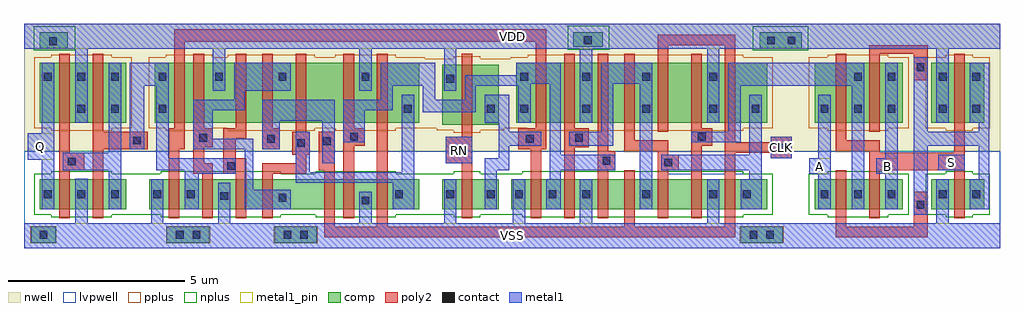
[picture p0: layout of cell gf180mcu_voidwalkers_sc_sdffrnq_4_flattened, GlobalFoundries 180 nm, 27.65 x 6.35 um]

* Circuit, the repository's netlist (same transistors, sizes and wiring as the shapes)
* NGSPICE file created from gf180mcu_voidwalkers_sc_sdffrnq_4_flattened.ext - technology: gf180mcuD

.subckt gf180mcu_voidwalkers_sc_sdffrnq_4_flattened VDD VSS A B S CLK RN Q
X0 a_n870_270# RN VDD VDD pfet_03v3 ad=1.275p pd=4.9u as=0.935p ps=4.5u w=1.7u l=0.3u
X1 a_2090_270# S A VDD pfet_03v3 ad=0.5525p pd=2.35u as=1.0285p ps=4.61u w=1.7u l=0.3u
X2 a_n1490_270# a_n1300_270# VSS VSS nfet_03v3 ad=0.54825p pd=2.99u as=0.27625p ps=1.5u w=0.85u l=0.3u
X3 a_n1300_270# a_n870_270# VSS VSS nfet_03v3 ad=0.27625p pd=1.5u as=0.4675p ps=2.8u w=0.85u l=0.3u
X4 a_120_270# a_n870_270# VSS VSS nfet_03v3 ad=0.27625p pd=1.5u as=0.4675p ps=2.8u w=0.85u l=0.3u
X5 a_1370_270# CLK a_1620_320# VSS nfet_03v3 ad=0.27625p pd=1.5u as=0.19125p ps=1.3u w=0.85u l=0.3u
X6 a_n730_520# CLK a_n430_810# VDD pfet_03v3 ad=0.5525p pd=2.35u as=0.3825p ps=2.15u w=1.7u l=0.3u
X7 a_n340_270# CLK VSS VSS nfet_03v3 ad=0.765p pd=3.5u as=0.27625p ps=1.5u w=0.85u l=0.3u
X8 VDD a_n730_520# a_n780_810# VDD pfet_03v3 ad=0.765p pd=2.6u as=0.2125p ps=1.95u w=1.7u l=0.3u
X9 a_1620_810# a_120_270# VDD VDD pfet_03v3 ad=0.3825p pd=2.15u as=0.5525p ps=2.35u w=1.7u l=0.3u
X10 a_2910_160# S VDD VDD pfet_03v3 ad=0.935p pd=4.5u as=1.105p ps=4.7u w=1.7u l=0.3u
X11 a_2090_270# a_2910_160# A VSS nfet_03v3 ad=0.27625p pd=1.5u as=0.51425p ps=2.91u w=0.85u l=0.3u
X12 VDD a_120_270# a_n90_810# VDD pfet_03v3 ad=0.5525p pd=2.35u as=0.8925p ps=2.75u w=1.7u l=0.3u
X13 a_1710_650# CLK VDD VDD pfet_03v3 ad=1.53p pd=5.2u as=0.5525p ps=2.35u w=1.7u l=0.3u
X14 a_1270_810# a_n870_270# a_120_270# VDD pfet_03v3 ad=0.425p pd=2.2u as=0.935p ps=4.5u w=1.7u l=0.3u
X15 a_n730_520# a_n340_270# a_n430_320# VSS nfet_03v3 ad=0.61625p pd=2.3u as=0.19125p ps=1.3u w=0.85u l=0.3u
X16 a_1620_320# a_120_270# VSS VSS nfet_03v3 ad=0.19125p pd=1.3u as=0.27625p ps=1.5u w=0.85u l=0.3u
X17 a_2910_160# S VSS VSS nfet_03v3 ad=0.4675p pd=2.8u as=0.5525p ps=3u w=0.85u l=0.3u
X18 VSS a_n730_520# a_n1300_270# VSS nfet_03v3 ad=0.27625p pd=1.5u as=0.27625p ps=1.5u w=0.85u l=0.3u
X19 B a_2910_160# a_2090_270# VDD pfet_03v3 ad=1.105p pd=4.7u as=0.5525p ps=2.35u w=1.7u l=0.3u
X20 a_70_320# CLK a_n730_520# VSS nfet_03v3 ad=0.10625p pd=1.1u as=0.61625p ps=2.3u w=0.85u l=0.3u
X21 VDD a_n1490_270# Q VDD pfet_03v3 ad=0.5525p pd=2.35u as=0.935p ps=4.5u w=1.7u l=0.3u
X22 a_n90_810# a_n340_270# a_n730_520# VDD pfet_03v3 ad=0.8925p pd=2.75u as=0.5525p ps=2.35u w=1.7u l=0.3u
X23 VSS a_120_270# a_70_320# VSS nfet_03v3 ad=0.27625p pd=1.5u as=0.10625p ps=1.1u w=0.85u l=0.3u
X24 a_n430_810# a_n1300_270# VDD VDD pfet_03v3 ad=0.3825p pd=2.15u as=0.765p ps=2.6u w=1.7u l=0.3u
X25 VDD a_1370_270# a_1270_810# VDD pfet_03v3 ad=0.5525p pd=2.35u as=0.425p ps=2.2u w=1.7u l=0.3u
X26 a_1960_810# CLK a_1370_270# VDD pfet_03v3 ad=0.5525p pd=2.35u as=0.5525p ps=2.35u w=1.7u l=0.3u
X27 a_1710_650# CLK VSS VSS nfet_03v3 ad=0.765p pd=3.5u as=0.27625p ps=1.5u w=0.85u l=0.3u
X28 a_n780_810# a_n870_270# a_n1300_270# VDD pfet_03v3 ad=0.2125p pd=1.95u as=0.935p ps=4.5u w=1.7u l=0.3u
X29 B S a_2090_270# VSS nfet_03v3 ad=0.5525p pd=3u as=0.27625p ps=1.5u w=0.85u l=0.3u
X30 VDD a_2090_270# a_1960_810# VDD pfet_03v3 ad=0.5525p pd=2.35u as=0.5525p ps=2.35u w=1.7u l=0.3u
X31 VSS a_n1490_270# Q VSS nfet_03v3 ad=0.27625p pd=1.5u as=0.4675p ps=2.8u w=0.85u l=0.3u
X32 VSS a_1370_270# a_120_270# VSS nfet_03v3 ad=0.27625p pd=1.5u as=0.27625p ps=1.5u w=0.85u l=0.3u
X33 a_1960_320# a_1710_650# a_1370_270# VSS nfet_03v3 ad=0.27625p pd=1.5u as=0.27625p ps=1.5u w=0.85u l=0.3u
X34 a_n430_320# a_n1300_270# VSS VSS nfet_03v3 ad=0.19125p pd=1.3u as=0.27625p ps=1.5u w=0.85u l=0.3u
X35 a_n1490_270# a_n1300_270# VDD VDD pfet_03v3 ad=1.0965p pd=4.69u as=0.5525p ps=2.35u w=1.7u l=0.3u
X36 a_1370_270# a_1710_650# a_1620_810# VDD pfet_03v3 ad=0.5525p pd=2.35u as=0.3825p ps=2.15u w=1.7u l=0.3u
X37 VSS a_2090_270# a_1960_320# VSS nfet_03v3 ad=0.27625p pd=1.5u as=0.27625p ps=1.5u w=0.85u l=0.3u
X38 a_n870_270# RN VSS VSS nfet_03v3 ad=0.6375p pd=3.2u as=0.4675p ps=2.8u w=0.85u l=0.3u
X39 a_n340_270# CLK VDD VDD pfet_03v3 ad=1.53p pd=5.2u as=0.5525p ps=2.35u w=1.7u l=0.3u
.ends

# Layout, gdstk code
import gdstk
lib = gdstk.Library(unit=1e-6, precision=1e-09)
def R(c, l, rs):  # rectangles x0, y0, x1, y1
    for r in rs: c.add(gdstk.rectangle(r[:2], r[2:], *l))
def A(c, l, x, y, w, h, nx, ny, dx, dy):  # array of equal rectangles
    R(c, l, [(x+i*dx, y+j*dy, x+i*dx+w, y+j*dy+h) for i in range(nx) for j in range(ny)])
def P(c, l, *ps):  # polygons
    for p in ps: c.add(gdstk.Polygon(p, *l))
nwell = (21, 0)
comp = (22, 0)
poly2 = (30, 0)
pplus = (31, 0)
nplus = (32, 0)
contact = (33, 0)
metal1 = (34, 0)
metal1_pin = (34, 10)
lvpwell = (204, 0)

gf180mcu_voidwalkers_sc_ = lib.new_cell('gf180mcu_voidwalkers_sc_sdffrnq_4_flattened')
R(gf180mcu_voidwalkers_sc_, nwell, [(-8.45,3.25,19.2,6.85)])
R(gf180mcu_voidwalkers_sc_, comp, [(-8.25,0.65,-7.55,1.1), (-4.4,0.65,-3.2,1.1), (-1.35,0.65,-0.15,1.1), (11.85,0.65,13.05,1.1), (-8,1.6,-5.555,2.45), (-4.9,1.6,2.75,2.45), (3.4,1.6,5,2.45), (5.35,1.6,12.6,2.45), (13.945,1.6,16.45,2.45), (17.25,1.6,18.75,2.45), (3.4,4,5,5.7), (-8,4.05,-5.555,5.75), (-4.75,4.05,2.75,5.75), (5.5,4.05,12.6,5.75), (13.945,4.05,16.45,5.75), (17.25,4.05,18.75,5.75), (-8.01,6.16,-7.21,6.61), (12.39,6.16,13.59,6.61), (7.11,6.2,7.94,6.61)])
R(gf180mcu_voidwalkers_sc_, poly2, [(0.05,0.8,11.7,1.1), (14.55,0.8,17.15,1.1), (0.05,1.1,0.35,2.7), (1.55,1.1,1.85,6), (8.55,1.1,8.85,2.7), (11.4,1.1,11.7,3.2), (14.55,1.1,14.85,2.7), (16.75,1.1,17.15,2.1), (-7.45,1.35,-7.15,2.7), (-6.5,1.35,-6.2,3.3), (-4.35,1.35,-4.05,3.3), (-3.4,1.35,-3.1,2.6), (-2.45,1.35,-2.15,2.6), (-1.7,1.35,-1.4,2.6), (0.6,1.35,0.9,3.4), (3.95,1.35,4.25,2.9), (5.9,1.35,6.2,3.3), (6.85,1.35,7.15,3.35), (7.8,1.35,8.1,2.7), (9.5,1.35,9.8,2.7), (10.45,1.35,10.75,3.4), (15.5,1.35,15.8,2.7), (17.9,1.35,18.2,2.7), (-3.65,2.6,-3.1,2.9), (-2.8,2.6,-2.15,3.05), (-1.7,2.6,-0.45,2.9), (-7.45,2.7,-6.75,3.2), (-0.1,2.7,0.35,3.8), (7.8,2.7,8.3,3.25), (9.5,2.7,10.1,3.15), (15.5,2.7,18.2,3.2), (-3.65,2.9,-3.35,3.35), (-0.75,2.9,-0.45,3.15), (3.5,2.9,4.25,3.65), (-2.8,3.05,-2.45,3.6), (12.7,3.05,13.3,3.2), (-0.85,3.15,-0.35,3.8), (9.5,3.15,9.8,3.25), (-7.45,3.2,-7.15,6), (11.4,3.2,13.3,3.5), (15.5,3.2,15.8,3.25), (17.9,3.2,18.2,6), (7.8,3.25,8.1,6), (8.55,3.25,9.8,3.55), (14.55,3.25,15.8,3.55), (-6.5,3.3,-4.95,3.8), (-4.35,3.3,-3.9,3.9), (-1.7,3.3,-1.2,3.9), (5.55,3.3,6.35,3.9), (-3.65,3.35,-3.1,3.9), (6.85,3.35,7.55,3.9), (0.6,3.4,1.2,3.9), (10.45,3.4,11.05,3.9), (11.4,3.5,11.7,6.25), (12.7,3.5,13.3,3.65), (8.55,3.55,8.85,6), (14.55,3.55,14.85,6), (-2.8,3.6,-2.15,3.9), (3.95,3.65,4.25,6), (-6.5,3.8,-6.2,6), (-0.75,3.8,-0.45,6), (9.5,3.8,9.8,6.25), (15.5,3.8,15.8,6), (-4.2,3.9,-3.9,6.35), (-3.65,3.9,-3.35,6), (-2.45,3.9,-2.15,6), (-1.7,3.9,-1.4,6), (0.6,3.9,0.9,6), (6.05,3.9,6.35,6.35), (6.85,3.9,7.15,6), (10.45,3.9,10.75,6), (16.75,5.25,17.15,6), (15.5,6,17.15,6.25), (9.5,6.25,11.7,6.55), (-4.2,6.35,6.35,6.7)])
R(gf180mcu_voidwalkers_sc_, pplus, [(-8.27,0.63,-7.53,1.12), (-4.42,0.63,-3.18,1.12), (-1.37,0.63,-0.13,1.12), (11.83,0.63,13.07,1.12), (3.72,3.77,4.48,3.84), (-7.68,3.82,-5.97,3.89), (-4.43,3.82,-3.12,3.89), (-2.68,3.82,-0.22,3.89), (0.37,3.82,2.08,3.89), (5.82,3.82,11.93,3.89), (14.32,3.82,16.03,3.89), (17.67,3.82,18.43,3.89), (3.24,3.84,5.16,3.89), (-8.16,3.89,-5.395,5.91), (-4.91,3.89,12.76,5.86), (13.785,3.89,16.61,5.91), (17.09,3.89,18.91,5.91), (-4.91,5.86,2.91,5.91), (3.72,5.86,4.48,5.93), (5.34,5.86,12.76,5.91), (-7.68,5.91,-5.97,5.98), (-4.43,5.91,-3.12,5.98), (-2.68,5.91,-0.22,5.98), (0.37,5.91,2.08,5.98), (5.82,5.91,11.93,5.98), (14.32,5.91,16.03,5.98), (17.67,5.91,18.43,5.98)])
R(gf180mcu_voidwalkers_sc_, nplus, [(-7.68,1.37,-5.97,1.44), (-4.58,1.37,-1.17,1.44), (-0.18,1.37,2.08,1.44), (3.72,1.37,4.48,1.44), (5.67,1.37,11.93,1.44), (14.32,1.37,16.03,1.44), (17.67,1.37,18.43,1.44), (-8.16,1.44,12.76,2.61), (13.785,1.44,16.61,2.61), (17.09,1.44,18.91,2.61), (-7.68,2.61,-5.97,2.68), (-4.58,2.61,-1.17,2.68), (-0.18,2.61,2.08,2.68), (3.72,2.61,4.48,2.68), (5.67,2.61,11.93,2.68), (14.32,2.61,16.03,2.68), (17.67,2.61,18.43,2.68), (12.2,6.1,13.77,6.79), (-8.18,6.11,-7,6.79), (-8.18,6.11,-7,6.79), (6.95,6.12,8.13,6.8)])
A(gf180mcu_voidwalkers_sc_, contact, -7.885, 1.915, 0.22, 0.22, 3, 2, 0.95, 3.325)
A(gf180mcu_voidwalkers_sc_, contact, 5.465, 1.915, 0.22, 0.22, 3, 1, 0.95, 0)
A(gf180mcu_voidwalkers_sc_, contact, 14.115, 1.915, 0.22, 0.22, 3, 2, 0.95, 2.425)
R(gf180mcu_voidwalkers_sc_, contact, [(-8.01,0.765,-7.79,0.985), (-4.145,0.765,-3.925,0.985), (-3.675,0.765,-3.455,0.985), (-1.095,0.765,-0.875,0.985), (-0.625,0.765,-0.405,0.985), (12.105,0.765,12.325,0.985), (12.575,0.765,12.795,0.985), (16.84,1.615,17.06,1.835), (1.115,1.74,1.335,1.96), (-1.235,1.815,-1.015,2.035), (-2.885,1.865,-2.665,2.085), (-4.785,1.915,-4.565,2.135), (-3.835,1.915,-3.615,2.135), (2.065,1.915,2.285,2.135), (3.515,1.915,3.735,2.135), (4.665,1.915,4.885,2.135), (9.065,1.915,9.285,2.135), (10.965,1.915,11.185,2.135), (11.915,1.915,12.135,2.135), (17.465,1.915,17.685,2.135), (18.415,1.915,18.635,2.135), (-2.685,2.715,-2.465,2.935), (9.69,2.815,9.91,3.035), (-7.21,2.84,-6.99,3.06), (17.715,2.84,17.935,3.06), (7.94,2.865,8.16,3.085), (3.765,3.165,3.985,3.385), (12.89,3.24,13.11,3.46), (-0.71,3.365,-0.49,3.585), (0.015,3.415,0.235,3.635), (-5.36,3.44,-5.14,3.66), (-1.56,3.49,-1.34,3.71), (5.765,3.49,5.985,3.71), (-3.485,3.515,-3.265,3.735), (7.165,3.515,7.385,3.735), (0.79,3.54,1.01,3.76), (10.64,3.54,10.86,3.76), (-6.935,4.34,-6.715,4.56), (-5.985,4.34,-5.765,4.56), (-4.635,4.34,-4.415,4.56), (2.315,4.34,2.535,4.56), (4.665,4.34,4.885,4.56), (5.615,4.34,5.835,4.56), (7.365,4.34,7.585,4.56), (9.065,4.34,9.285,4.56), (10.965,4.34,11.185,4.56), (12.165,4.34,12.385,4.56), (17.465,4.34,17.685,4.56), (18.415,4.34,18.635,4.56), (3.515,5.19,3.735,5.41), (-4.635,5.24,-4.415,5.46), (-3.035,5.24,-2.815,5.46), (-1.235,5.24,-1.015,5.46), (1.115,5.24,1.335,5.46), (5.615,5.24,5.835,5.46), (7.365,5.24,7.585,5.46), (9.065,5.24,9.285,5.46), (10.965,5.24,11.185,5.46), (15.065,5.24,15.285,5.46), (16.015,5.24,16.235,5.46), (17.465,5.24,17.685,5.46), (18.415,5.24,18.635,5.46), (16.84,5.51,17.06,5.73), (-7.74,6.25,-7.52,6.47), (12.6,6.27,12.82,6.49), (13.18,6.27,13.4,6.49), (7.41,6.28,7.63,6.5)])
R(gf180mcu_voidwalkers_sc_, metal1, [(-8.45,0.5,19.2,1.2), (-7,1.2,-6.645,2.47), (-4.85,1.2,-4.5,2.45), (-2.95,1.2,-2.6,2.35), (1.05,1.2,1.4,2.1), (3.45,1.2,3.8,2.45), (5.4,1.2,5.75,2.45), (7.3,1.2,7.65,2.45), (10.9,1.2,11.25,2.45), (17.4,1.2,17.75,2.45), (16.75,1.45,17.15,3.4), (-7.95,1.6,-7.6,3), (-6.05,1.6,-5.7,2.7), (-3.9,1.6,-3.5,2.6), (-2.2,1.6,-0.9,2.15), (2,1.6,2.6,2.35), (4.6,1.6,4.95,2.7), (6.35,1.6,6.75,2.45), (9,1.6,9.35,5.15), (11.85,1.6,12.45,2.45), (14.05,1.6,14.4,2.6), (15,1.6,15.35,5.1), (15.95,1.6,16.3,2.6), (18.35,1.6,18.9,2.45), (-2.2,2.15,-1.95,3.3), (-0.75,2.35,2.6,2.65), (6.45,2.45,6.75,2.7), (12.1,2.45,12.45,2.7), (18.6,2.45,18.9,3.4), (-3.9,2.6,-2.45,2.7), (13.8,2.6,14.4,3.05), (15.7,2.6,16.3,3.05), (-0.75,2.65,-0.35,3.8), (2.25,2.65,2.6,4.85), (-7.35,2.7,-5.7,3.2), (-4.7,2.7,-2.45,3.05), (4.6,2.7,5.3,3.05), (6.45,2.7,8.3,3.15), (9.6,2.7,12.45,3.15), (17.45,2.7,18.2,3.15), (0,2.9,0.35,4.1), (3.5,2.9,4.25,3.65), (-8.35,3,-7.6,3.75), (-4.7,3.05,-4.35,5.1), (5,3.05,5.3,3.4), (12.7,3.05,13.3,3.65), (14.05,3.05,14.4,4.85), (15.95,3.05,16.3,5.75), (6.45,3.15,6.75,5.15), (12.1,3.15,12.45,4.85), (-6.05,3.2,-5.7,5.75), (-5.45,3.3,-5.05,5.1), (-3.65,3.3,-1.95,3.6), (-1.7,3.3,-1.2,4.1), (5,3.4,6.2,3.8), (7,3.4,8.25,3.8), (16.75,3.4,18.9,3.8), (0.6,3.5,1.2,4.4), (10.45,3.5,11.85,3.8), (-3.65,3.6,-3.1,4.4), (-7.95,3.75,-7.6,5.75), (5,3.8,5.3,4.05), (7.9,3.8,8.25,5.15), (11.5,3.8,11.85,5.1), (16.75,3.8,17.15,5.9), (18.6,3.8,18.9,4.05), (-7,4.05,-6.65,4.7), (4.6,4.05,5.3,4.85), (5.55,4.05,5.9,5.1), (7.3,4.05,7.65,6.15), (10.9,4.05,11.25,6.15), (17.4,4.05,17.75,6.15), (18.35,4.05,18.9,5.75), (-1.7,4.1,0.35,4.7), (2.85,4.35,4.35,4.7), (-3.65,4.4,-2.2,4.7), (0.6,4.4,2,4.7), (-7,4.7,-6.645,6.15), (-2.5,4.7,-2.2,4.95), (1.65,4.7,2,5.1), (2.85,4.7,3.2,5.1), (4.05,4.7,4.35,5.1), (-3.1,4.95,-2.75,6.15), (-2.5,4.95,-0.9,5.75), (1.05,4.95,1.4,6.15), (-5.45,5.1,-4.35,5.75), (1.65,5.1,3.2,5.75), (4.05,5.1,5.9,5.15), (11.5,5.1,15.35,5.75), (4.05,5.15,6.75,5.4), (7.9,5.15,9.35,5.75), (5.5,5.4,6.75,5.75)])
P(gf180mcu_voidwalkers_sc_, metal1, [(3.45,4.95),(3.45,6.15),(-8.45,6.15),(-8.45,6.85),(19.2,6.85),(19.2,6.15),(3.8,6.15),(3.8,4.95)])
R(gf180mcu_voidwalkers_sc_, metal1_pin, [(-8.45,0.5,19.2,1.2), (13.8,2.6,14.4,3.05), (15.7,2.6,16.3,3.05), (17.45,2.7,18.2,3.15), (3.5,2.9,4.25,3.65), (-8.35,3,-7.6,3.75), (12.7,3.05,13.3,3.65), (-8.45,6.15,19.2,6.85)])
R(gf180mcu_voidwalkers_sc_, lvpwell, [(-8.45,0.5,19.2,2.6), (-8.45,2.6,9.8,2.7), (10.45,2.6,10.75,2.7), (11.4,2.6,11.7,2.7), (12.1,2.6,19.2,2.7), (-8.45,2.7,19.2,3.25)])
gf180mcu_voidwalkers_sc_.add(gdstk.Label('VDD', (5.375,6.5), layer=34, texttype=10))
gf180mcu_voidwalkers_sc_.add(gdstk.Label('VSS', (5.375,0.85), layer=34, texttype=10))
gf180mcu_voidwalkers_sc_.add(gdstk.Label('A', (14.1,2.825), layer=34, texttype=10))
gf180mcu_voidwalkers_sc_.add(gdstk.Label('B', (16,2.825), layer=34, texttype=10))
gf180mcu_voidwalkers_sc_.add(gdstk.Label('S', (17.825,2.925), layer=34, texttype=10))
gf180mcu_voidwalkers_sc_.add(gdstk.Label('CLK', (13,3.35), layer=34, texttype=10))
gf180mcu_voidwalkers_sc_.add(gdstk.Label('RN', (3.875,3.275), layer=34, texttype=10))
gf180mcu_voidwalkers_sc_.add(gdstk.Label('Q', (-7.975,3.375), layer=34, texttype=10))

lib.write_gds('gf180mcu_voidwalkers_sc_sdffrnq_4_flattened.gds')
